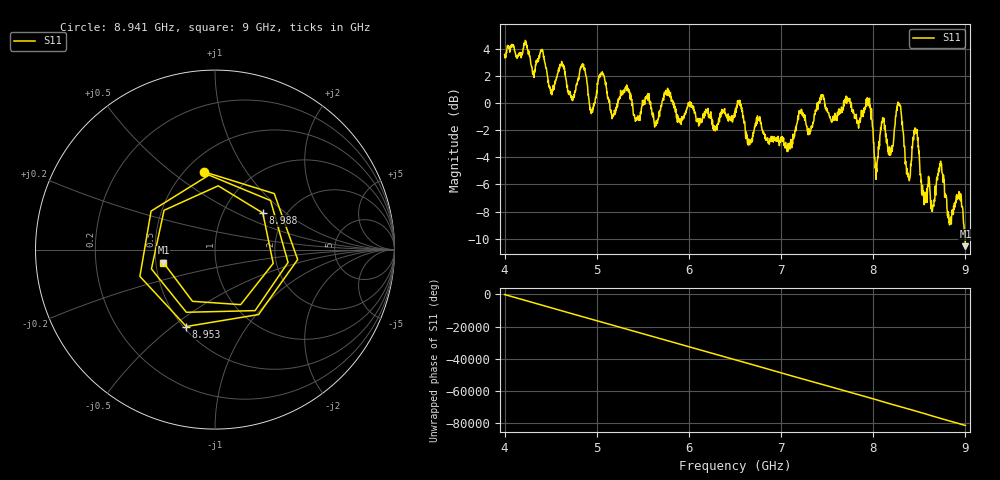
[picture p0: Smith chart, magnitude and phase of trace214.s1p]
! Created with skrf 1.8.0 (http://scikit-rf.org).
# Hz S RI R 50.0
!freq ReS11 ImS11
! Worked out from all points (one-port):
!   1601 points, 4 GHz to 9 GHz, reference 50 ohm
!   lowest |S11| = -10.6 dB at 9 GHz (marker M1), VSWR 1.84, Z = 27.4 - j4.35 ohm
!   |S11| at or under -10 dB: 8.99674 GHz to end of sweep
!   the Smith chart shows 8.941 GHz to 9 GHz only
!   S11 on the Smith chart (normalised r, x): 8.941 GHz: 0.61, +0.66; 8.953 GHz: 0.52, -0.56; 8.988 GHz: 1.53, +0.70; 9 GHz: 0.55, -0.09
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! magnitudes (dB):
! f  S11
! 4 GHz  3.6
! 4.406 GHz  4.0
! 4.512 GHz  0.6
! 4.625 GHz  2.8
! 4.731 GHz  0.4
! 4.853 GHz  2.7
! 4.944 GHz  -0.5
! 5.047 GHz  2.1
! 5.169 GHz  -0.9
! 5.25 GHz  0.5
! 5.875 GHz  -1.4
! 6.5 GHz  -0.6
! 7.125 GHz  -3.0
! 7.75 GHz  0.0
! 7.95 GHz  0.0
! 8.034 GHz  -4.8
! 8.103 GHz  -1.1
! 8.197 GHz  -3.5
! 8.281 GHz  0.0
! 8.375 GHz  -5.3
! 8.459 GHz  -2.0
! 8.55 GHz  -6.6
! 8.728 GHz  -4.5
! 8.825 GHz  -8.7
! 8.941 GHz  -7.2
! 8.953 GHz  -6.8
! 8.988 GHz  -9.5
! 9 GHz  -10.6
